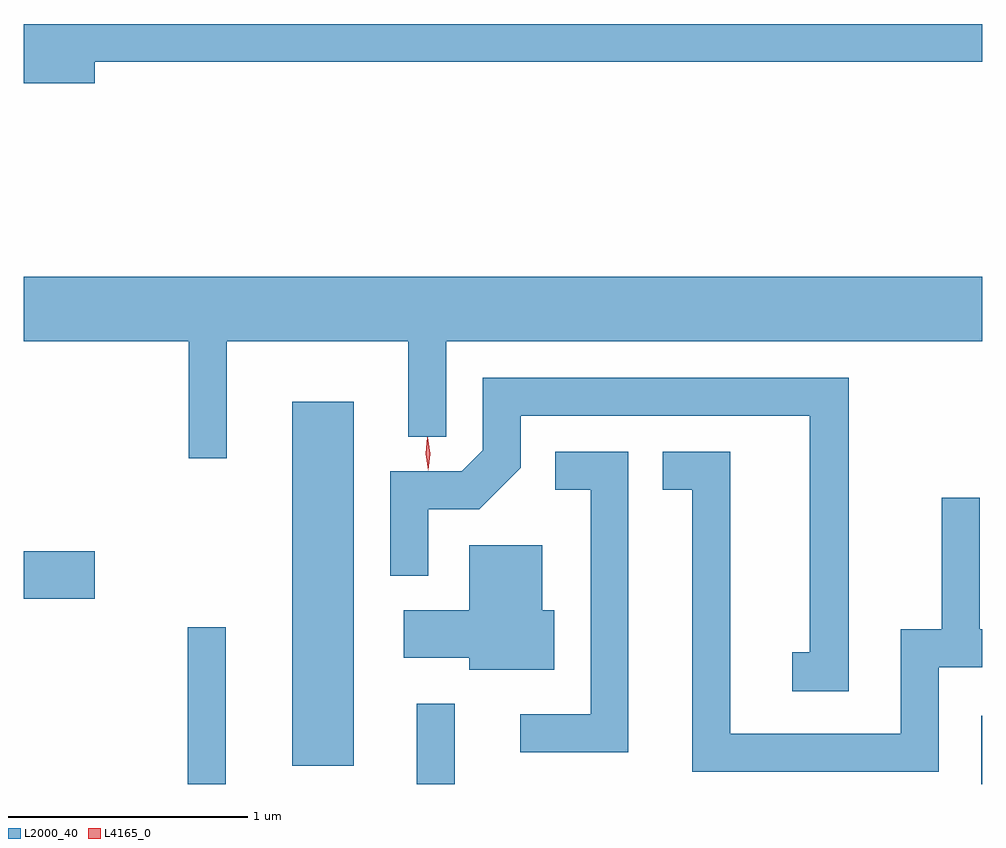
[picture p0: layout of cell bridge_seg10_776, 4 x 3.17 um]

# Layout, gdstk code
import gdstk
lib = gdstk.Library(unit=1e-6, precision=1e-09)
def R(c, l, rs):  # rectangles x0, y0, x1, y1
    for r in rs: c.add(gdstk.rectangle(r[:2], r[2:], *l))
def P(c, l, *ps):  # polygons
    for p in ps: c.add(gdstk.Polygon(p, *l))
L2000_40 = (2000, 40)
L4165_0 = (4165, 0)

bridge_seg10_776 = lib.new_cell('bridge_seg10_776')
R(bridge_seg10_776, L2000_40, [(440.501,2132.049,440.659,2132.703), (441.456,2132.049,441.614,2132.383), (443.811,2132.049,443.816,2132.334), (440.936,2132.126,441.194,2133.644), (439.816,2132.821,440.114,2133.019)])
P(bridge_seg10_776, L2000_40, [(440.114,2135.061),(443.816,2135.061),(443.816,2135.219),(439.816,2135.219),(439.816,2134.971),(440.114,2134.971)],
  [(440.664,2133.896),(441.421,2133.896),(441.421,2133.498),(441.579,2133.498),(441.579,2133.896),(443.816,2133.896),(443.816,2134.164),(439.816,2134.164),(439.816,2133.896),(440.506,2133.896),(440.506,2133.408),(440.664,2133.408)],
  [(443.259,2133.744),(441.731,2133.744),(441.731,2133.442),(441.644,2133.354),(441.346,2133.354),(441.346,2132.918),(441.504,2132.918),(441.504,2133.196),(441.717,2133.196),(441.889,2133.369),(441.889,2133.586),(443.096,2133.586),(443.096,2132.599),(443.023,2132.599),(443.023,2132.436),(443.259,2132.436)],
  [(443.634,2132.536),(443.816,2132.536),(443.816,2132.694),(443.804,2132.694),(443.804,2133.243),(443.646,2133.243),(443.646,2132.694),(443.476,2132.694),(443.476,2132.259),(442.764,2132.259),(442.764,2133.434),(442.483,2133.434),(442.483,2133.276),(442.606,2133.276),(442.606,2132.101),(443.634,2132.101)],
  [(442.339,2133.434),(442.033,2133.434),(442.033,2133.276),(442.181,2133.276),(442.181,2132.339),(441.888,2132.339),(441.888,2132.181),(442.339,2132.181)],
  [(442.029,2132.774),(441.979,2132.774),(441.979,2133.044),(441.676,2133.044),(441.676,2132.774),(441.401,2132.774),(441.401,2132.576),(441.676,2132.576),(441.676,2132.526),(442.029,2132.526)])
P(bridge_seg10_776, L4165_0, [(441.504,2133.357),(441.504,2133.357),(441.493,2133.426),(441.501,2133.495),(441.502,2133.496),(441.502,2133.495),(441.513,2133.426),(441.504,2133.357)],
  [(441.504,2133.359),(441.504,2133.36),(441.493,2133.426),(441.501,2133.492),(441.502,2133.492),(441.502,2133.492),(441.513,2133.426),(441.504,2133.36)])

lib.write_gds('bridge_seg10_776.gds')
